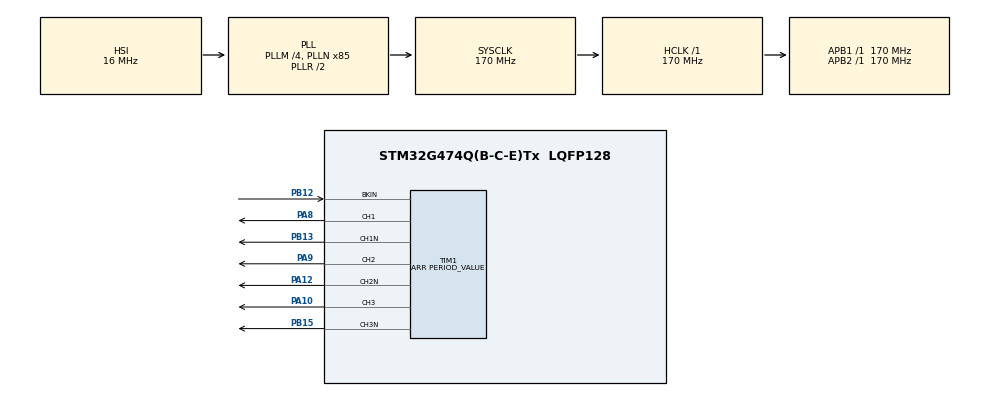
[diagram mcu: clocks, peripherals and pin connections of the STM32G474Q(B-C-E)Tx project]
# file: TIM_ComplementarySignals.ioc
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Mcu.Family=STM32G4
Mcu.Name=STM32G474Q(B-C-E)Tx
Mcu.Package=LQFP128
NVIC.PriorityGroup=NVIC_PRIORITYGROUP_4
PA10.GPIO_PuPd=GPIO_PULLDOWN
PA10.GPIO_Speed=GPIO_SPEED_FREQ_HIGH
PA10.Signal=S_TIM1_CH3
PA12.GPIO_PuPd=GPIO_PULLDOWN
PA12.GPIO_Speed=GPIO_SPEED_FREQ_HIGH
PA12.Mode=PWM Generation2 CH2 CH2N
PA12.Signal=TIM1_CH2N
PA8.GPIO_PuPd=GPIO_PULLDOWN
PA8.GPIO_Speed=GPIO_SPEED_FREQ_HIGH
PA8.Signal=S_TIM1_CH1
PA9.GPIO_PuPd=GPIO_PULLDOWN
PA9.GPIO_Speed=GPIO_SPEED_FREQ_HIGH
PA9.Signal=S_TIM1_CH2
PB12.Mode=Activate-Break-Input
PB12.Signal=TIM1_BKIN
PB13.GPIO_PuPd=GPIO_PULLDOWN
PB13.GPIO_Speed=GPIO_SPEED_FREQ_HIGH
PB13.Mode=PWM Generation1 CH1 CH1N
PB13.Signal=TIM1_CH1N
PB15.GPIO_PuPd=GPIO_PULLDOWN
PB15.GPIO_Speed=GPIO_SPEED_FREQ_HIGH
PB15.Mode=PWM Generation3 CH3 CH3N
PB15.Signal=TIM1_CH3N
PF0-OSC_IN.Mode=HSE-External-Oscillator
PF0-OSC_IN.Signal=RCC_OSC_IN
PF1-OSC_OUT.Mode=HSE-External-Oscillator
PF1-OSC_OUT.Signal=RCC_OSC_OUT
ProjectManager.HeapSize=0x200
ProjectManager.StackSize=0x400
ProjectManager.TargetToolchain=EWARM V8.32
RCC.ADC12Freq_Value=170000000
RCC.ADC345Freq_Value=170000000
RCC.AHBFreq_Value=170000000
RCC.APB1Freq_Value=170000000
RCC.APB1TimFreq_Value=170000000
RCC.APB2Freq_Value=170000000
RCC.APB2TimFreq_Value=170000000
RCC.CortexFreq_Value=170000000
RCC.EXTERNAL_CLOCK_VALUE=12288000
RCC.HCLKFreq_Value=170000000
RCC.HSE_VALUE=24000000
RCC.HSI48_VALUE=48000000
RCC.HSI_VALUE=16000000
RCC.LSE_VALUE=32768
RCC.PLLM=RCC_PLLM_DIV4
RCC.PLLN=85
RCC.SYSCLKFreq_VALUE=170000000
RCC.SYSCLKSource=RCC_SYSCLKSOURCE_PLLCLK
RCC.USBFreq_Value=170000000
RCC.VCOOutputFreq_Value=340000000
SH.S_TIM1_CH1.0=TIM1_CH1,PWM Generation1 CH1 CH1N
SH.S_TIM1_CH2.0=TIM1_CH2,PWM Generation2 CH2 CH2N
SH.S_TIM1_CH3.0=TIM1_CH3,PWM Generation3 CH3 CH3N
TIM1.AutoReloadPreload=TIM_AUTORELOAD_PRELOAD_DISABLE
TIM1.AutomaticOutput=TIM_AUTOMATICOUTPUT_ENABLE
TIM1.Break2Filter=0
TIM1.Break2Polarity=TIM_BREAK2POLARITY_HIGH
TIM1.Break2State=TIM_BREAK2_DISABLE
TIM1.BreakFilter=0
TIM1.BreakPolarity=TIM_BREAKPOLARITY_HIGH
TIM1.BreakState=TIM_BREAK_ENABLE
TIM1.Channel-PWM\ Generation1\ CH1\ CH1N=TIM_CHANNEL_1
TIM1.Channel-PWM\ Generation2\ CH2\ CH2N=TIM_CHANNEL_2
TIM1.Channel-PWM\ Generation3\ CH3\ CH3N=TIM_CHANNEL_3
TIM1.ClearInputSource=TIM_CLEARINPUTSOURCE_NONE
TIM1.ClockDivision=TIM_CLOCKDIVISION_DIV1
TIM1.CounterMode=TIM_COUNTERMODE_UP
TIM1.DeadTime=100
TIM1.LockLevel=TIM_LOCKLEVEL_1
TIM1.OCFastMode_PWM-PWM\ Generation1\ CH1\ CH1N=TIM_OCFAST_DISABLE
TIM1.OCFastMode_PWM-PWM\ Generation2\ CH2\ CH2N=TIM_OCFAST_DISABLE
TIM1.OCFastMode_PWM-PWM\ Generation3\ CH3\ CH3N=TIM_OCFAST_DISABLE
TIM1.OCIdleState_1=TIM_OCIDLESTATE_RESET
TIM1.OCIdleState_2=TIM_OCIDLESTATE_RESET
TIM1.OCIdleState_3=TIM_OCIDLESTATE_RESET
TIM1.OCMode_PWM-PWM\ Generation1\ CH1\ CH1N=TIM_OCMODE_PWM1
TIM1.OCMode_PWM-PWM\ Generation2\ CH2\ CH2N=TIM_OCMODE_PWM1
TIM1.OCMode_PWM-PWM\ Generation3\ CH3\ CH3N=TIM_OCMODE_PWM1
TIM1.OCNIdleState_1=TIM_OCNIDLESTATE_RESET
TIM1.OCNIdleState_2=TIM_OCNIDLESTATE_RESET
TIM1.OCNIdleState_3=TIM_OCNIDLESTATE_RESET
TIM1.OCNPolarity_1=TIM_OCNPOLARITY_HIGH
TIM1.OCNPolarity_2=TIM_OCNPOLARITY_HIGH
TIM1.OCNPolarity_3=TIM_OCNPOLARITY_HIGH
TIM1.OCPolarity_1=TIM_OCPOLARITY_HIGH
TIM1.OCPolarity_2=TIM_OCPOLARITY_HIGH
TIM1.OCPolarity_3=TIM_OCPOLARITY_HIGH
TIM1.OffStateIDLEMode=TIM_OSSI_ENABLE
TIM1.OffStateRunMode=TIM_OSSR_ENABLE
TIM1.Period=PERIOD_VALUE
TIM1.Prescaler=PRESCALER_VALUE
TIM1.PulseNoDither_1=PULSE1_VALUE
TIM1.PulseNoDither_2=PULSE2_VALUE
TIM1.PulseNoDither_3=PULSE3_VALUE
TIM1.RepetitionCounter=0
TIM1.TIM_MasterOutputTrigger=TIM_TRGO_RESET
TIM1.TIM_MasterOutputTrigger2=TIM_TRGO2_RESET
TIM1.TIM_MasterSlaveMode=TIM_MASTERSLAVEMODE_DISABLE
VP_SYS_VS_DBSignals.Mode=DisableDeadBatterySignals
board=custom

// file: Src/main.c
/* USER CODE BEGIN Header */
/**
  ******************************************************************************
  * @file           : main.c
  * @brief          : Main program body
  ******************************************************************************
  * @attention
  *
  * Copyright (c) 2019 STMicroelectronics.
  * All rights reserved.
  *
  * This software is licensed under terms that can be found in the LICENSE file
  * in the root directory of this software component.
  * If no LICENSE file comes with this software, it is provided AS-IS.
  *
  ******************************************************************************
  */
/* USER CODE END Header */
#include "main.h"

/* USER CODE BEGIN Includes */
#include "stm32g474e_eval.h"

/* USER CODE END Includes */

TIM_HandleTypeDef htim1;

void SystemClock_Config(void);
static void MX_GPIO_Init(void);
static void MX_TIM1_Init(void);

int main(void)
{

  /* MCU Configuration--------------------------------------------------------*/

  /* Reset of all peripherals, Initializes the Flash interface and the Systick. */
  HAL_Init();

  /* Configure the system clock */
  SystemClock_Config();

  /* Initialize all configured peripherals */
  MX_GPIO_Init();
  MX_TIM1_Init();
  /* USER CODE BEGIN 2 */
  /* Configure LED3 */
  BSP_LED_Init(LED3);
 /*##-3- Start PWM signals generation #######################################*/
  /* Start channel 1 */
  if(HAL_TIM_PWM_Start(&htim1, TIM_CHANNEL_1) != HAL_OK)
  {
    /* Starting Error */
    Error_Handler();
  }
  /* Start channel 1N */
  if(HAL_TIMEx_PWMN_Start(&htim1, TIM_CHANNEL_1) != HAL_OK)
  {
    /* Starting Error */
    Error_Handler();
  }

  /* Start channel 2 */
  if(HAL_TIM_PWM_Start(&htim1, TIM_CHANNEL_2) != HAL_OK)
  {
    /* Starting Error */
    Error_Handler();
  }
  /* Start channel 2N */
  if(HAL_TIMEx_PWMN_Start(&htim1, TIM_CHANNEL_2) != HAL_OK)
  {
    /* Starting Error */
    Error_Handler();
  }

  /* Start channel 3 */
  if(HAL_TIM_PWM_Start(&htim1, TIM_CHANNEL_3) != HAL_OK)
  {
    /* Starting Error */
    Error_Handler();
  }
  /* Start channel 3N */
  if(HAL_TIMEx_PWMN_Start(&htim1, TIM_CHANNEL_3) != HAL_OK)
  {
    /* Starting Error */
    Error_Handler();
  }

  /* USER CODE END 2 */

  /* Infinite loop */
  while (1)
  {

  }
}

void SystemClock_Config(void)
{
  RCC_OscInitTypeDef RCC_OscInitStruct = {0};
  RCC_ClkInitTypeDef RCC_ClkInitStruct = {0};

  /** Configure the main internal regulator output voltage
  */
  HAL_PWREx_ControlVoltageScaling(PWR_REGULATOR_VOLTAGE_SCALE1_BOOST);
  /** Initializes the RCC Oscillators according to the specified parameters
  * in the RCC_OscInitTypeDef structure.
  */
  RCC_OscInitStruct.OscillatorType = RCC_OSCILLATORTYPE_HSI;
  RCC_OscInitStruct.HSIState = RCC_HSI_ON;
  RCC_OscInitStruct.HSICalibrationValue = RCC_HSICALIBRATION_DEFAULT;
  RCC_OscInitStruct.PLL.PLLState = RCC_PLL_ON;
  RCC_OscInitStruct.PLL.PLLSource = RCC_PLLSOURCE_HSI;
  RCC_OscInitStruct.PLL.PLLM = RCC_PLLM_DIV4;
  RCC_OscInitStruct.PLL.PLLN = 85;
  RCC_OscInitStruct.PLL.PLLP = RCC_PLLP_DIV2;
  RCC_OscInitStruct.PLL.PLLQ = RCC_PLLQ_DIV2;
  RCC_OscInitStruct.PLL.PLLR = RCC_PLLR_DIV2;
  if (HAL_RCC_OscConfig(&RCC_OscInitStruct) != HAL_OK)
  {
    Error_Handler();
  }
  /** Initializes the CPU, AHB and APB buses clocks
  */
  RCC_ClkInitStruct.ClockType = RCC_CLOCKTYPE_HCLK|RCC_CLOCKTYPE_SYSCLK
                              |RCC_CLOCKTYPE_PCLK1|RCC_CLOCKTYPE_PCLK2;
  RCC_ClkInitStruct.SYSCLKSource = RCC_SYSCLKSOURCE_PLLCLK;
  RCC_ClkInitStruct.AHBCLKDivider = RCC_SYSCLK_DIV1;
  RCC_ClkInitStruct.APB1CLKDivider = RCC_HCLK_DIV1;
  RCC_ClkInitStruct.APB2CLKDivider = RCC_HCLK_DIV1;

  if (HAL_RCC_ClockConfig(&RCC_ClkInitStruct, FLASH_LATENCY_4) != HAL_OK)
  {
    Error_Handler();
  }
}

static void MX_TIM1_Init(void)
{

  TIM_MasterConfigTypeDef sMasterConfig = {0};
  TIMEx_BreakInputConfigTypeDef sBreakInputConfig = {0};
  TIM_OC_InitTypeDef sConfigOC = {0};
  TIM_BreakDeadTimeConfigTypeDef sBreakDeadTimeConfig = {0};

  htim1.Instance = TIM1;
  htim1.Init.Prescaler = PRESCALER_VALUE;
  htim1.Init.CounterMode = TIM_COUNTERMODE_UP;
  htim1.Init.Period = PERIOD_VALUE;
  htim1.Init.ClockDivision = TIM_CLOCKDIVISION_DIV1;
  htim1.Init.RepetitionCounter = 0;
  htim1.Init.AutoReloadPreload = TIM_AUTORELOAD_PRELOAD_DISABLE;
  if (HAL_TIM_PWM_Init(&htim1) != HAL_OK)
  {
    Error_Handler();
  }
  sMasterConfig.MasterOutputTrigger = TIM_TRGO_RESET;
  sMasterConfig.MasterOutputTrigger2 = TIM_TRGO2_RESET;
  sMasterConfig.MasterSlaveMode = TIM_MASTERSLAVEMODE_DISABLE;
  if (HAL_TIMEx_MasterConfigSynchronization(&htim1, &sMasterConfig) != HAL_OK)
  {
    Error_Handler();
  }
  sBreakInputConfig.Source = TIM_BREAKINPUTSOURCE_BKIN;
  sBreakInputConfig.Enable = TIM_BREAKINPUTSOURCE_ENABLE;
  sBreakInputConfig.Polarity = TIM_BREAKINPUTSOURCE_POLARITY_HIGH;
  if (HAL_TIMEx_ConfigBreakInput(&htim1, TIM_BREAKINPUT_BRK, &sBreakInputConfig) != HAL_OK)
  {
    Error_Handler();
  }
  sConfigOC.OCMode = TIM_OCMODE_PWM1;
  sConfigOC.Pulse = PULSE1_VALUE;
  sConfigOC.OCPolarity = TIM_OCPOLARITY_HIGH;
  sConfigOC.OCNPolarity = TIM_OCNPOLARITY_HIGH;
  sConfigOC.OCFastMode = TIM_OCFAST_DISABLE;
  sConfigOC.OCIdleState = TIM_OCIDLESTATE_RESET;
  sConfigOC.OCNIdleState = TIM_OCNIDLESTATE_RESET;
  if (HAL_TIM_PWM_ConfigChannel(&htim1, &sConfigOC, TIM_CHANNEL_1) != HAL_OK)
  {
    Error_Handler();
  }
  sConfigOC.Pulse = PULSE2_VALUE;
  if (HAL_TIM_PWM_ConfigChannel(&htim1, &sConfigOC, TIM_CHANNEL_2) != HAL_OK)
  {
    Error_Handler();
  }
  sConfigOC.Pulse = PULSE3_VALUE;
  if (HAL_TIM_PWM_ConfigChannel(&htim1, &sConfigOC, TIM_CHANNEL_3) != HAL_OK)
  {
    Error_Handler();
  }
  sBreakDeadTimeConfig.OffStateRunMode = TIM_OSSR_ENABLE;
  sBreakDeadTimeConfig.OffStateIDLEMode = TIM_OSSI_ENABLE;
  sBreakDeadTimeConfig.LockLevel = TIM_LOCKLEVEL_1;
  sBreakDeadTimeConfig.DeadTime = 100;
  sBreakDeadTimeConfig.BreakState = TIM_BREAK_ENABLE;
  sBreakDeadTimeConfig.BreakPolarity = TIM_BREAKPOLARITY_HIGH;
  sBreakDeadTimeConfig.BreakFilter = 0;
  sBreakDeadTimeConfig.BreakAFMode = TIM_BREAK_AFMODE_INPUT;
  sBreakDeadTimeConfig.Break2State = TIM_BREAK2_DISABLE;
  sBreakDeadTimeConfig.Break2Polarity = TIM_BREAK2POLARITY_HIGH;
  sBreakDeadTimeConfig.Break2Filter = 0;
  sBreakDeadTimeConfig.Break2AFMode = TIM_BREAK_AFMODE_INPUT;
  sBreakDeadTimeConfig.AutomaticOutput = TIM_AUTOMATICOUTPUT_ENABLE;
  if (HAL_TIMEx_ConfigBreakDeadTime(&htim1, &sBreakDeadTimeConfig) != HAL_OK)
  {
    Error_Handler();
  }
  HAL_TIM_MspPostInit(&htim1);

}

static void MX_GPIO_Init(void)
{

  /* GPIO Ports Clock Enable */
  __HAL_RCC_GPIOF_CLK_ENABLE();
  __HAL_RCC_GPIOB_CLK_ENABLE();
  __HAL_RCC_GPIOA_CLK_ENABLE();

}

void Error_Handler(void)
{
  /* USER CODE BEGIN Error_Handler_Debug */
  /* User can add his own implementation to report the HAL error return state */
  /* Turn LED3 on */
  BSP_LED_On(LED3);
  while(1)
  {
  }
  /* USER CODE END Error_Handler_Debug */
}
